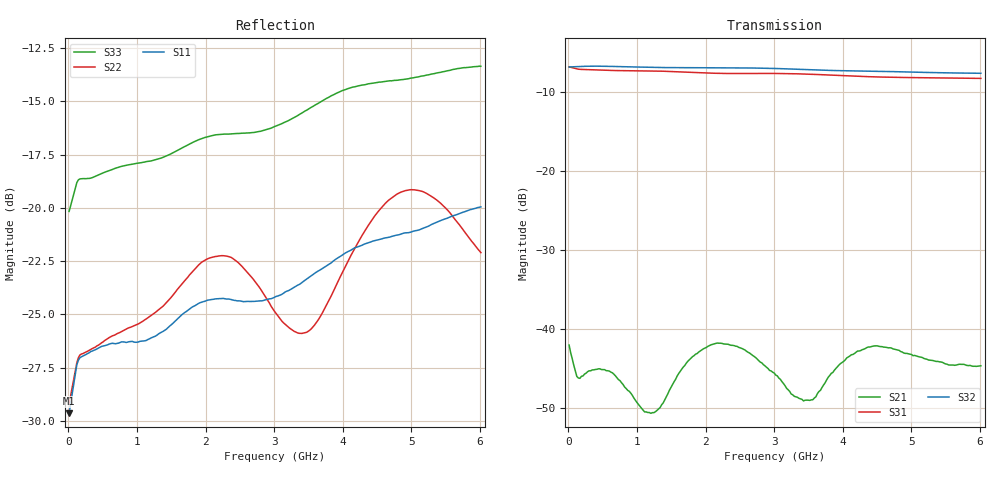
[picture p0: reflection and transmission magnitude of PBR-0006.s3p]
! MARKI MICROWAVE INC.
! Email:  info@markimicrowave.com  Phone:  408-778-4200
! Model Number:  PBR0006  Date:  10/11
! Filename:		PBR-0006.S3P  Version: 1.0
! Description:  3-port S-parameter data for Power Divider PBR0006
! Frequency Range: 	10 MHz to 6 GHz
! Port Configuration:	PORT 1 and 2: Output and Port 3: Common
! S3P File: Measurements: Mag<S11> Ang<S11> Mag<S12> Ang<S12> Mag<S13> Ang<S13>! row 1
!  Mag<S21> Ang<S21> Mag<S22> Ang<S22> Mag<S23> Ang<S23>! row 2
!  Mag<S31> Ang<S31> Mag<S32> Ang<S32> Mag<S33> Ang<S33>! row 3
# Hz S  dB  R 50
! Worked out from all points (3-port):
!   268 points, 10 MHz to 6.014 GHz, reference 50 ohm
!   strongest paths, dB at 10 MHz, 1.517 GHz, 3.023 GHz, 4.53 GHz, 6.014 GHz:
!     S32: -6.8, -6.9, -7.0, -7.4, -7.6
!     S31: -6.8, -7.4, -7.6, -8.1, -8.2
!     S21: -42.0, -47.1, -45.8, -42.2, -44.7
!   lowest |S11| = -29.7 dB at 10 MHz (marker M1), VSWR 1.07, Z = 46.9 + j0.547 ohm
!   |S11| at or under -10 dB: start of sweep to end of sweep
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1e7  -29.65 169.8  -41.42 130.3  -6.79 -2.2
     -42.04 123.0  -29.20 164.5  -6.77 -3.5
     -6.79 -2.2  -6.79 -3.6  -20.17 173.1
8.870125e8  -26.29 151.8  -47.91 -83.5  -7.29 -51.0
            -47.90 -82.7  -25.63 53.2  -6.79 -87.5
            -7.28 -51.1  -6.78 -87.6  -17.98 143.4
1.246812e9  -26.06 139.1  -50.72 -88.0  -7.32 -71.5
            -50.61 -85.2  -24.96 3.9  -6.86 -122.6
            -7.31 -71.6  -6.85 -122.7  -17.76 126.8
1.764025e9  -24.75 117.9  -43.90 -119.9  -7.47 -100.9
            -43.89 -119.4  -23.16 -61.0  -6.91 -172.8
            -7.47 -101.1  -6.90 -173.1  -17.01 102.5
2.461138e9  -24.37 79.0  -42.13 144.1  -7.63 -139.2
            -42.21 143.3  -22.53 -154.0  -6.92 118.9
            -7.62 -139.3  -6.90 118.6  -16.50 64.1
3.023325e9  -24.16 51.3  -45.59 81.9  -7.63 -170.7
            -45.85 82.0  -24.94 127.2  -7.01 63.5
            -7.62 -170.8  -6.99 63.2  -16.16 35.8
3.765412e9  -22.72 15.0  -46.49 63.9  -7.81 147.4
            -46.46 63.6  -24.54 1.2  -7.23 -8.8
            -7.80 147.1  -7.22 -9.4  -14.85 -2.9
4.574962e9  -21.45 -29.3  -42.12 -30.4  -8.08 103.2
            -42.24 -30.3  -19.95 -113.7  -7.37 -87.0
            -8.07 102.8  -7.36 -87.6  -14.08 -47.3
5.339538e9  -20.72 -65.9  -44.13 -111.5  -8.18 61.8
            -44.06 -111.5  -19.56 152.0  -7.52 -161.0
            -8.18 61.5  -7.51 -161.6  -13.69 -86.2
6.014162e9  -19.95 -93.6  -44.83 -176.9  -8.26 25.1
            -44.67 -176.9  -22.10 57.2  -7.62 134.1
            -8.24 24.9  -7.59 133.4  -13.35 -119.1
